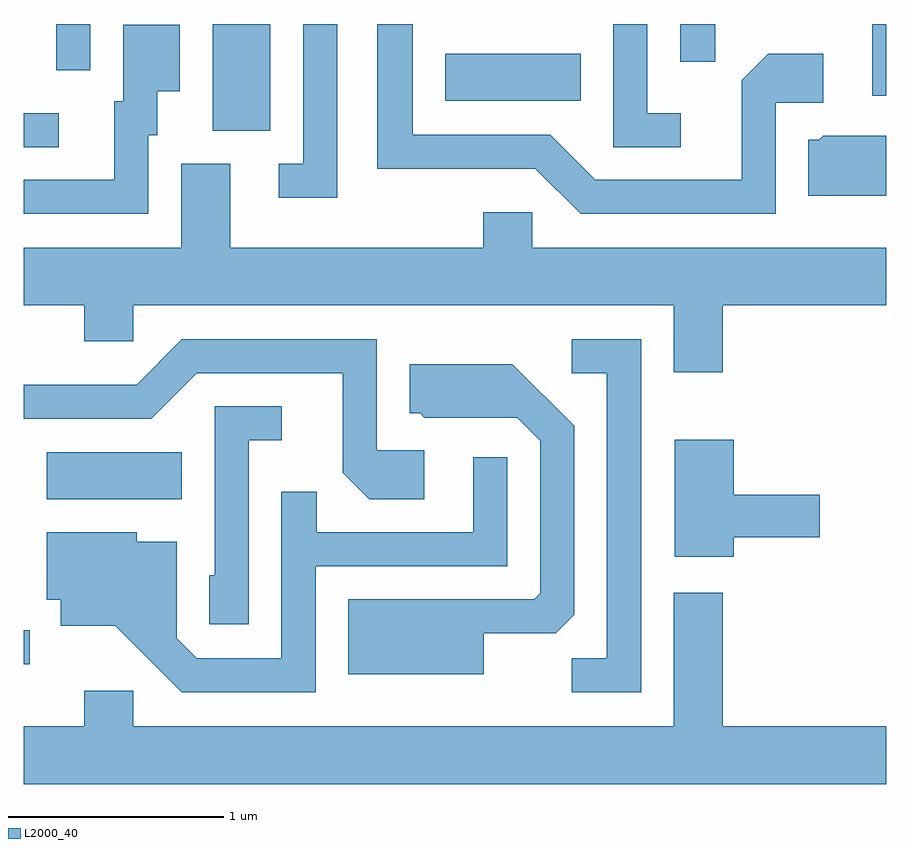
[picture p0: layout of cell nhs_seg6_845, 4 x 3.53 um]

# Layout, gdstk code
import gdstk
lib = gdstk.Library(unit=1e-6, precision=1e-09)
def R(c, l, rs):  # rectangles x0, y0, x1, y1
    for r in rs: c.add(gdstk.rectangle(r[:2], r[2:], *l))
def P(c, l, *ps):  # polygons
    for p in ps: c.add(gdstk.Polygon(p, *l))
L2000_40 = (2000, 40)

nhs_seg6_845 = lib.new_cell('nhs_seg6_845')
R(nhs_seg6_845, L2000_40, [(209.611,1617.191,209.638,1617.349), (209.716,1617.956,210.344,1618.174), (209.611,1619.591,209.773,1619.749), (210.486,1619.666,210.754,1620.162), (211.566,1619.806,212.194,1620.024), (213.546,1619.828,213.611,1620.162), (209.761,1619.948,209.919,1620.162), (212.656,1619.988,212.819,1620.162)])
P(nhs_seg6_845, L2000_40, [(211.064,1620.162),(210.906,1620.162),(210.906,1619.514),(210.793,1619.514),(210.793,1619.356),(211.064,1619.356)],
  [(212.658,1619.749),(212.504,1619.749),(212.504,1620.162),(212.346,1620.162),(212.346,1619.591),(212.658,1619.591)],
  [(213.099,1619.796),(213.319,1619.796),(213.319,1620.024),(213.064,1620.024),(212.941,1619.902),(212.941,1619.439),(212.262,1619.439),(212.052,1619.649),(211.414,1619.649),(211.414,1620.162),(211.251,1620.162),(211.251,1619.491),(211.984,1619.491),(212.194,1619.281),(213.099,1619.281)],
  [(210.189,1619.646),(210.229,1619.646),(210.229,1619.851),(210.334,1619.851),(210.334,1620.159),(210.071,1620.159),(210.071,1619.804),(210.031,1619.804),(210.031,1619.439),(209.611,1619.439),(209.611,1619.281),(210.189,1619.281)],
  [(213.611,1619.644),(213.319,1619.644),(213.299,1619.624),(213.251,1619.624),(213.251,1619.366),(213.611,1619.366)],
  [(212.854,1618.856),(213.611,1618.856),(213.611,1619.124),(211.969,1619.124),(211.969,1619.289),(211.741,1619.289),(211.741,1619.124),(210.569,1619.124),(210.569,1619.514),(210.341,1619.514),(210.341,1619.124),(209.611,1619.124),(209.611,1618.856),(209.891,1618.856),(209.891,1618.691),(210.119,1618.691),(210.119,1618.856),(212.626,1618.856),(212.626,1618.546),(212.854,1618.546)],
  [(212.474,1618.699),(212.153,1618.699),(212.153,1618.541),(212.316,1618.541),(212.316,1617.219),(212.153,1617.219),(212.153,1617.061),(212.474,1617.061)],
  [(211.469,1618.184),(211.249,1618.184),(211.249,1618.699),(210.344,1618.699),(210.134,1618.489),(209.611,1618.489),(209.611,1618.331),(210.202,1618.331),(210.412,1618.541),(211.091,1618.541),(211.091,1618.079),(211.214,1617.956),(211.469,1617.956)],
  [(211.744,1617.336),(212.079,1617.336),(212.164,1617.422),(212.164,1618.297),(211.877,1618.584),(211.401,1618.584),(211.401,1618.356),(211.449,1618.356),(211.469,1618.336),(211.899,1618.336),(212.006,1618.229),(212.006,1617.522),(211.979,1617.494),(211.116,1617.494),(211.116,1617.146),(211.744,1617.146)],
  [(210.654,1618.231),(210.808,1618.231),(210.808,1618.389),(210.496,1618.389),(210.496,1617.604),(210.471,1617.604),(210.471,1617.376),(210.654,1617.376)],
  [(212.904,1617.781),(213.304,1617.781),(213.304,1617.979),(212.904,1617.979),(212.904,1618.234),(212.631,1618.234),(212.631,1617.691),(212.904,1617.691)],
  [(210.964,1617.646),(211.854,1617.646),(211.854,1618.153),(211.696,1618.153),(211.696,1617.804),(210.969,1617.804),(210.969,1617.993),(210.806,1617.993),(210.806,1617.219),(210.412,1617.219),(210.319,1617.312),(210.319,1617.759),(210.134,1617.759),(210.134,1617.804),(209.716,1617.804),(209.716,1617.491),(209.781,1617.491),(209.781,1617.371),(210.034,1617.371),(210.344,1617.061),(210.964,1617.061)],
  [(213.611,1616.904),(212.854,1616.904),(212.854,1617.524),(212.626,1617.524),(212.626,1616.904),(210.119,1616.904),(210.119,1617.069),(209.891,1617.069),(209.891,1616.904),(209.611,1616.904),(209.611,1616.636),(213.611,1616.636)])

lib.write_gds('nhs_seg6_845.gds')
